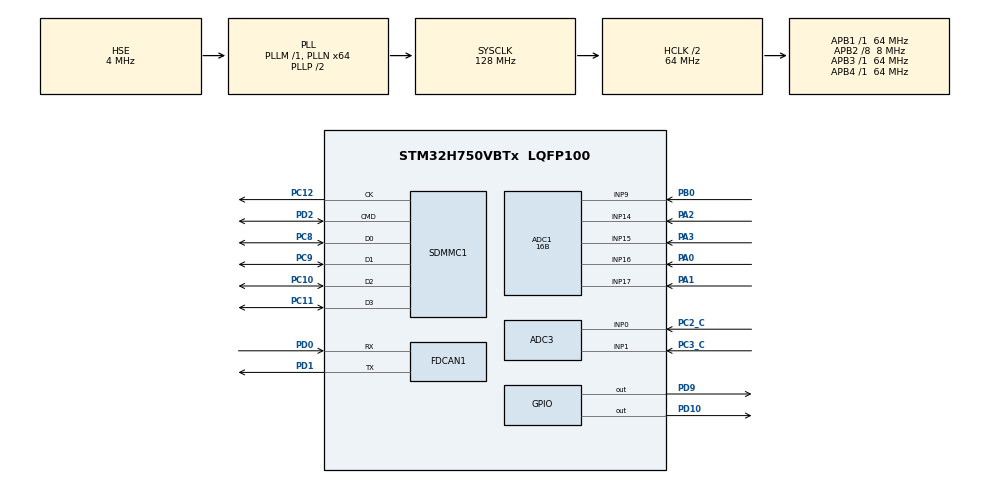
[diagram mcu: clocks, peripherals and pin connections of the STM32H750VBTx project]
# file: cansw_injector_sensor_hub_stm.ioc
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ADC1.Channel-1\#ChannelRegularConversion=ADC_CHANNEL_16
ADC1.Channel-4\#ChannelRegularConversion=ADC_CHANNEL_17
ADC1.Channel-5\#ChannelRegularConversion=ADC_CHANNEL_15
ADC1.Channel-6\#ChannelRegularConversion=ADC_CHANNEL_9
ADC1.Channel-7\#ChannelRegularConversion=ADC_CHANNEL_14
ADC1.ClockPrescaler=ADC_CLOCK_ASYNC_DIV2
ADC1.ConversionDataManagement=ADC_CONVERSIONDATA_DMA_ONESHOT
ADC1.DiscontinuousConvMode=DISABLE
ADC1.EOCSelection=ADC_EOC_SEQ_CONV
ADC1.EnableRegularConversion=ENABLE
ADC1.ExternalTrigConv=ADC_SOFTWARE_START
ADC1.LeftBitShift=ADC_LEFTBITSHIFT_NONE
ADC1.NbrOfConversion=5
ADC1.NbrOfConversionFlag=1
ADC1.NbrOfDiscConversion=1
ADC1.OffsetNumber-1\#ChannelRegularConversion=ADC_OFFSET_NONE
ADC1.OffsetNumber-4\#ChannelRegularConversion=ADC_OFFSET_NONE
ADC1.OffsetNumber-5\#ChannelRegularConversion=ADC_OFFSET_NONE
ADC1.OffsetNumber-6\#ChannelRegularConversion=ADC_OFFSET_NONE
ADC1.OffsetNumber-7\#ChannelRegularConversion=ADC_OFFSET_NONE
ADC1.OffsetSignedSaturation-1\#ChannelRegularConversion=DISABLE
ADC1.OffsetSignedSaturation-4\#ChannelRegularConversion=DISABLE
ADC1.OffsetSignedSaturation-5\#ChannelRegularConversion=DISABLE
ADC1.OffsetSignedSaturation-6\#ChannelRegularConversion=DISABLE
ADC1.OffsetSignedSaturation-7\#ChannelRegularConversion=DISABLE
ADC1.Overrun=ADC_OVR_DATA_PRESERVED
ADC1.Rank-1\#ChannelRegularConversion=1
ADC1.Rank-4\#ChannelRegularConversion=2
ADC1.Rank-5\#ChannelRegularConversion=3
ADC1.Rank-6\#ChannelRegularConversion=4
ADC1.Rank-7\#ChannelRegularConversion=5
ADC1.Resolution=ADC_RESOLUTION_16B
ADC1.SamplingTime-1\#ChannelRegularConversion=ADC_SAMPLETIME_16CYCLES_5
ADC1.SamplingTime-4\#ChannelRegularConversion=ADC_SAMPLETIME_64CYCLES_5
ADC1.SamplingTime-5\#ChannelRegularConversion=ADC_SAMPLETIME_64CYCLES_5
ADC1.SamplingTime-6\#ChannelRegularConversion=ADC_SAMPLETIME_64CYCLES_5
ADC1.SamplingTime-7\#ChannelRegularConversion=ADC_SAMPLETIME_64CYCLES_5
ADC1.master=1
ADC3.Channel-2\#ChannelRegularConversion=ADC_CHANNEL_0
ADC3.Channel-3\#ChannelRegularConversion=ADC_CHANNEL_1
ADC3.ConversionDataManagement=ADC_CONVERSIONDATA_DMA_ONESHOT
ADC3.EOCSelection=ADC_EOC_SEQ_CONV
ADC3.ExternalTrigConv=ADC_SOFTWARE_START
ADC3.NbrOfConversion=2
ADC3.NbrOfConversionFlag=1
ADC3.OffsetNumber-2\#ChannelRegularConversion=ADC_OFFSET_NONE
ADC3.OffsetNumber-3\#ChannelRegularConversion=ADC_OFFSET_NONE
ADC3.OffsetSignedSaturation-2\#ChannelRegularConversion=DISABLE
ADC3.OffsetSignedSaturation-3\#ChannelRegularConversion=DISABLE
ADC3.Rank-2\#ChannelRegularConversion=1
ADC3.Rank-3\#ChannelRegularConversion=2
ADC3.SamplingTime-2\#ChannelRegularConversion=ADC_SAMPLETIME_16CYCLES_5
ADC3.SamplingTime-3\#ChannelRegularConversion=ADC_SAMPLETIME_16CYCLES_5
CORTEX_M7.default_mode_Activation=1
Dma.ADC1.0.Direction=DMA_PERIPH_TO_MEMORY
Dma.ADC1.0.EventEnable=DISABLE
Dma.ADC1.0.FIFOMode=DMA_FIFOMODE_DISABLE
Dma.ADC1.0.Instance=DMA1_Stream0
Dma.ADC1.0.MemDataAlignment=DMA_MDATAALIGN_HALFWORD
Dma.ADC1.0.MemInc=DMA_MINC_ENABLE
Dma.ADC1.0.Mode=DMA_NORMAL
Dma.ADC1.0.PeriphDataAlignment=DMA_PDATAALIGN_HALFWORD
Dma.ADC1.0.PeriphInc=DMA_PINC_DISABLE
Dma.ADC1.0.Polarity=HAL_DMAMUX_REQ_GEN_RISING
Dma.ADC1.0.Priority=DMA_PRIORITY_LOW
Dma.ADC1.0.RequestNumber=1
Dma.ADC1.0.SignalID=NONE
Dma.ADC1.0.SyncEnable=DISABLE
Dma.ADC1.0.SyncPolarity=HAL_DMAMUX_SYNC_NO_EVENT
Dma.ADC1.0.SyncRequestNumber=1
Dma.ADC1.0.SyncSignalID=NONE
Dma.ADC3.1.Direction=DMA_PERIPH_TO_MEMORY
Dma.ADC3.1.EventEnable=DISABLE
Dma.ADC3.1.FIFOMode=DMA_FIFOMODE_DISABLE
Dma.ADC3.1.Instance=DMA1_Stream1
Dma.ADC3.1.MemDataAlignment=DMA_MDATAALIGN_HALFWORD
Dma.ADC3.1.MemInc=DMA_MINC_ENABLE
Dma.ADC3.1.Mode=DMA_NORMAL
Dma.ADC3.1.PeriphDataAlignment=DMA_PDATAALIGN_HALFWORD
Dma.ADC3.1.PeriphInc=DMA_PINC_DISABLE
Dma.ADC3.1.Polarity=HAL_DMAMUX_REQ_GEN_RISING
Dma.ADC3.1.Priority=DMA_PRIORITY_LOW
Dma.ADC3.1.RequestNumber=1
Dma.ADC3.1.SignalID=NONE
Dma.ADC3.1.SyncEnable=DISABLE
Dma.ADC3.1.SyncPolarity=HAL_DMAMUX_SYNC_NO_EVENT
Dma.ADC3.1.SyncRequestNumber=1
Dma.ADC3.1.SyncSignalID=NONE
Dma.Request0=ADC1
Dma.Request1=ADC3
FDCAN1.AutoRetransmission=DISABLE
FDCAN1.CalculateBaudRateNominal=250000
FDCAN1.CalculateTimeBitNominal=4000
FDCAN1.CalculateTimeQuantumNominal=1333.3333333333333
FDCAN1.ClockCalibrationCCU=DISABLE
FDCAN1.DataPrescaler=1
FDCAN1.FrameFormat=FDCAN_FRAME_CLASSIC
FDCAN1.Mode=FDCAN_MODE_NORMAL
FDCAN1.NominalPrescaler=16
FDCAN1.NominalTimeSeg1=1
FDCAN1.NominalTimeSeg2=1
FDCAN1.RxFifo0ElmtsNbr=64
FDCAN1.TxEventsNbr=32
FDCAN1.TxFifoQueueElmtsNbr=32
Mcu.Family=STM32H7
Mcu.Name=STM32H750VBTx
Mcu.Package=LQFP100
NVIC.DMA1_Stream0_IRQn=true\:0\:0\:false\:false\:true\:false\:true\:true
NVIC.DMA1_Stream1_IRQn=true\:0\:0\:false\:false\:true\:false\:true\:true
NVIC.FDCAN1_IT0_IRQn=true\:1\:0\:true\:false\:true\:true\:true\:true
NVIC.PriorityGroup=NVIC_PRIORITYGROUP_4
NVIC.SDMMC1_IRQn=true\:0\:0\:false\:false\:true\:true\:true\:true
PA0.Mode=IN16-Single-Ended
PA0.Signal=ADC1_INP16
PA1.Mode=IN17-Single-Ended
PA1.Signal=ADC1_INP17
PA2.Signal=ADCx_INP14
PA3.Signal=ADCx_INP15
PB0.Signal=ADCx_INP9
PC10.Mode=SD_4_bits_Wide_bus
PC10.Signal=SDMMC1_D2
PC11.Mode=SD_4_bits_Wide_bus
PC11.Signal=SDMMC1_D3
PC12.Mode=SD_4_bits_Wide_bus
PC12.Signal=SDMMC1_CK
PC2_C.Mode=IN0-Single-Ended
PC2_C.Signal=ADC3_INP0
PC3_C.Mode=IN1-Single-Ended
PC3_C.Signal=ADC3_INP1
PC8.Mode=SD_4_bits_Wide_bus
PC8.Signal=SDMMC1_D0
PC9.Mode=SD_4_bits_Wide_bus
PC9.Signal=SDMMC1_D1
PD0.Mode=FDCAN_Activate
PD0.Signal=FDCAN1_RX
PD1.Mode=FDCAN_Activate
PD1.Signal=FDCAN1_TX
PD10.Signal=GPIO_Output
PD2.Mode=SD_4_bits_Wide_bus
PD2.Signal=SDMMC1_CMD
PD9.Signal=GPIO_Output
PH0-OSC_IN\ (PH0).Mode=HSE-External-Oscillator
PH0-OSC_IN\ (PH0).Signal=RCC_OSC_IN
PH1-OSC_OUT\ (PH1).Mode=HSE-External-Oscillator
PH1-OSC_OUT\ (PH1).Signal=RCC_OSC_OUT
ProjectManager.HeapSize=0x200
ProjectManager.StackSize=0x400
ProjectManager.TargetToolchain=STM32CubeIDE
RCC.ADCFreq_Value=64000000
RCC.APB1Freq_Value=64000000
RCC.APB2Freq_Value=8000000
RCC.APB3Freq_Value=64000000
RCC.APB4Freq_Value=64000000
RCC.CortexFreq_Value=64000000
RCC.D1CPRE=RCC_SYSCLK_DIV2
RCC.D2PPRE2=RCC_APB2_DIV8
RCC.DIVM1=1
RCC.DIVM2=1
RCC.DIVN1=64
RCC.DIVN2=96
RCC.DIVP2=6
RCC.DIVQ1=4
RCC.DIVQ2=32
RCC.DIVR2=6
RCC.FDCANCLockSelection=RCC_FDCANCLKSOURCE_PLL2
RCC.HCLKFreq_Value=64000000
RCC.HSE_VALUE=4000000
RCC.PLL2FRACN=0
RCC.PLLFRACN=0
RCC.PLLSourceVirtual=RCC_PLLSOURCE_HSE
RCC.SYSCLKFreq_VALUE=128000000
RCC.SYSCLKSource=RCC_SYSCLKSOURCE_PLLCLK
RCC.USBFreq_Value=64000000
SDMMC1.ClockDiv=12
SDMMC1.ClockEdge=SDMMC_CLOCK_EDGE_RISING
SDMMC1.HardwareFlowControl=SDMMC_HARDWARE_FLOW_CONTROL_DISABLE
SDMMC1.TransceiverPresent=SDMMC_TRANSCEIVER_NOT_PRESENT
SH.ADCx_INP14.0=ADC1_INP14,IN14-Single-Ended
SH.ADCx_INP15.0=ADC1_INP15,IN15-Single-Ended
SH.ADCx_INP9.0=ADC1_INP9,IN9-Single-Ended
VP_FATFS_VS_SDIO.Mode=SDIO
VP_MEMORYMAP_VS_MEMORYMAP.Mode=CurAppReg
VP_VREFBUF_V_VREFBUF.Mode=ExternalMode
board=custom

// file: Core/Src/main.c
/* USER CODE BEGIN Header */
/**
 ******************************************************************************
 * @file           : main.c
 * @brief          : Main program body
 ******************************************************************************
 * @attention
 *
 * Copyright (c) 2026 STMicroelectronics.
 * All rights reserved.
 *
 * This software is licensed under terms that can be found in the LICENSE file
 * in the root directory of this software component.
 * If no LICENSE file comes with this software, it is provided AS-IS.
 *
 ******************************************************************************
 */
/* USER CODE END Header */
#include "main.h"
#include "fatfs.h"

/* USER CODE BEGIN Includes */
#include <stdbool.h>
#include <stdint.h>

#include "stm32h7xx_hal.h"

#include "canlib.h"
#include "common.h"
#include "low_pass_filter.h"
#include "platform.h"
#include "sd_fs.h"
#include "sd_log.h"
#include "sensor.h"
/* USER CODE END Includes */

/* USER CODE BEGIN PD */

#define MAX_BUS_DEAD_TIME_ms 1000

#define ADC_SAMPLE_FREQ_Hz 50
#define ADC_SAMPLE_INTERVAL_ms (1000.0 / ADC_SAMPLE_FREQ_Hz)

// We measure some differential sensors using two single-ended channels. That pair of channels
// counts as one sensor.
#define ADC1_SENSOR_COUNT 3
#define ADC3_SENSOR_COUNT 2
#define ADC1_CHANNEL_COUNT 5
#define ADC3_CHANNEL_COUNT 2

#define PT1_LOW_PASS_ENABLED false
#define PT1_LOW_PASS_RESPONSE_TIME_ms 2500.0
#define PT1_FREQ_DIVIDER 1

#define PT2_LOW_PASS_ENABLED false
#define PT2_LOW_PASS_RESPONSE_TIME_ms 2500.0
#define PT2_FREQ_DIVIDER 1

#define PT3_LOW_PASS_ENABLED false
#define PT3_LOW_PASS_RESPONSE_TIME_ms 2500.0
#define PT3_FREQ_DIVIDER 1

#define PT4_LOW_PASS_ENABLED false
#define PT4_LOW_PASS_RESPONSE_TIME_ms 2500.0
#define PT4_FREQ_DIVIDER 1

#define PT5_LOW_PASS_ENABLED false
#define PT5_LOW_PASS_RESPONSE_TIME_ms 2500.0
#define PT5_FREQ_DIVIDER 1

#define PT6_LOW_PASS_ENABLED false
#define PT6_LOW_PASS_RESPONSE_TIME_ms 2500.0
#define PT6_FREQ_DIVIDER 1

#define BOARD_HEARTBEAT_INTERVAL_ms 500

// Debugging / testing defines

#define NO_ERROR_HANDLER_WAIT_FOREVER
#define NO_RESET_ON_BUS_DEAD

/* USER CODE END PD */

/* USER CODE BEGIN PM */
#define LOW_PASS_ALPHA(RESPONSE_TIME, SAMPLE_FREQ_Hz)                                              \
	(((double)SAMPLE_FREQ_Hz * RESPONSE_TIME / 5.0) /                                              \
	 (1 + (double)SAMPLE_FREQ_Hz * RESPONSE_TIME / 5.0))
/* USER CODE END PM */

ADC_HandleTypeDef hadc1;
ADC_HandleTypeDef hadc3;
DMA_HandleTypeDef hdma_adc1;
DMA_HandleTypeDef hdma_adc3;

FDCAN_HandleTypeDef hfdcan1;

SD_HandleTypeDef hsd1;

void SystemClock_Config(void);
void PeriphCommonClock_Config(void);
static void MPU_Config(void);
static void MX_GPIO_Init(void);
static void MX_DMA_Init(void);
static void MX_ADC1_Init(void);
static void MX_SDMMC1_SD_Init(void);
static void MX_ADC3_Init(void);
static void MX_FDCAN1_Init(void);
/* USER CODE BEGIN PFP */
static void can_callback(const can_msg_t *msg);
/* USER CODE END PFP */

/* USER CODE BEGIN 0 */

static volatile bool seen_can_msg = false;

static volatile bool adc1_data_ready = false;
static volatile bool adc3_data_ready = false;

volatile uint16_t adc1_read_buffer[ADC1_CHANNEL_COUNT];
volatile uint16_t adc3_read_buffer[ADC3_CHANNEL_COUNT];

// Currently only internal variable to check how often this happens
static volatile uint32_t adc1_overrun_count = 0;
static volatile uint32_t adc3_overrun_count = 0;

// Declared extern in main.h
uint32_t general_board_status = 0;

/* Handler for CAN messages. */
static void can_callback(const can_msg_t *msg) {
	seen_can_msg = true;
	if (get_board_type_unique_id(msg) == BOARD_TYPE_UNIQUE_ID) {
		return;
	}

	switch (get_message_type(msg)) {
		case MSG_LEDS_ON:
			HAL_GPIO_WritePin(LED_D2_REG, LED_D2_PIN, LED_ON);
			HAL_GPIO_WritePin(LED_D3_REG, LED_D3_PIN, LED_ON);
			break;

		case MSG_LEDS_OFF:
			HAL_GPIO_WritePin(LED_D2_REG, LED_D2_PIN, LED_OFF);
			HAL_GPIO_WritePin(LED_D3_REG, LED_D3_PIN, LED_OFF);
			break;

		case MSG_RESET_CMD:
			bool board_need_reset;
			w_status_t parse_status = check_board_need_reset(msg, &board_need_reset);
			if (parse_status == W_SUCCESS && board_need_reset) {
				HAL_NVIC_SystemReset();
			}
			break;

		default:
			break;
	}
}

void HAL_ADC_ConvCpltCallback(ADC_HandleTypeDef *hadc) {
	if (hadc->Instance == ADC1) {
		if (adc1_data_ready) {
			++adc1_overrun_count;
		}
		adc1_data_ready = true;
	} else if (hadc->Instance == ADC3) {
		if (adc3_data_ready) {
			++adc3_overrun_count;
		}
		adc3_data_ready = true;
	}
}

/* USER CODE END 0 */

int main(void) {

	/* MPU Configuration--------------------------------------------------------*/
	MPU_Config();

	/* MCU Configuration--------------------------------------------------------*/

	/* Reset of all peripherals, Initializes the Flash interface and the Systick. */
	HAL_Init();

	/* Configure the system clock */
	SystemClock_Config();

	/* Configure the peripherals common clocks */
	PeriphCommonClock_Config();

	/* Initialize all configured peripherals */
	MX_GPIO_Init();
	MX_DMA_Init();
	MX_ADC1_Init();
	MX_SDMMC1_SD_Init();
	MX_ADC3_Init();
	MX_FDCAN1_Init();
	MX_FATFS_Init();
	/* USER CODE BEGIN 2 */

	uint32_t last_msg_millis = 0;
	uint32_t last_adc_reading_millis = 0;
	uint32_t last_board_heartbeat_millis = 0;

	uint32_t can_send_failure_count = 0;

	// ADC1 channels in order (configured in CubeMX): PT3, PT4+, PT4-, PT5+, PT5-
	// ADC3 channels in order (configured in CubeMX): PT1, PT2

	// voltage pts (4,5) need longer time due to high input impedance. 16 for current pt and
	// 64 cycles for voltage pt at 64 hz adc clock + 16-bit reading seems to be accurate.

	// For differential sensors (Kulite PTs), we only use one handle for the two single-ended
	// channels.
	analog_sensor_handle_t adc1_sensor_handles[ADC1_SENSOR_COUNT] = {
		{
			.config =
				{
					.sample_freq_divider = PT3_FREQ_DIVIDER,
					.is_differential = false,
					.signal_pos_adc_index = 0,
					.signal_neg_adc_index = 0, // not used
					.on_read = sensor_on_read_pt_ifm_5402,
					.sensor_id = SENSOR_PT_CHANNEL_3,
					.low_pass_enabled = PT3_LOW_PASS_ENABLED,
					.low_pass_alpha = LOW_PASS_ALPHA(PT3_LOW_PASS_RESPONSE_TIME_ms,
													 ADC_SAMPLE_FREQ_Hz / PT3_FREQ_DIVIDER),
				},
			.freq_div_counter = 1,
		},
		{
			.config =
				{
					.sample_freq_divider = PT4_FREQ_DIVIDER,
					.is_differential = true,
					.signal_pos_adc_index = 1,
					.signal_neg_adc_index = 2,
					.on_read = sensor_on_read_pt_kulite,
					.sensor_id = SENSOR_PT_CHANNEL_4,
					.low_pass_enabled = PT4_LOW_PASS_ENABLED,
					.low_pass_alpha = LOW_PASS_ALPHA(PT4_LOW_PASS_RESPONSE_TIME_ms,
													 ADC_SAMPLE_FREQ_Hz / PT4_FREQ_DIVIDER),
				},
			.freq_div_counter = 1,
		},
		{
			.config =
				{
					.sample_freq_divider = PT5_FREQ_DIVIDER,
					.is_differential = true,
					.signal_pos_adc_index = 3,
					.signal_neg_adc_index = 4, // not used
					.on_read = sensor_on_read_pt_kulite,
					.sensor_id = SENSOR_PT_CHANNEL_5,
					.low_pass_enabled = PT5_LOW_PASS_ENABLED,
					.low_pass_alpha = LOW_PASS_ALPHA(PT5_LOW_PASS_RESPONSE_TIME_ms,
													 ADC_SAMPLE_FREQ_Hz / PT5_FREQ_DIVIDER),
				},
			.freq_div_counter = 1,
		},
	};
	analog_sensor_handle_t adc3_sensor_handles[ADC3_SENSOR_COUNT] = {
		{
			.config =
				{
					.sample_freq_divider = PT1_FREQ_DIVIDER,
					.is_differential = false,
					.signal_pos_adc_index = 0,
					.signal_neg_adc_index = 0, // not used
					.on_read = sensor_on_read_pt_ifm_5402,
					.sensor_id = SENSOR_PT_CHANNEL_1,
					.low_pass_enabled = PT1_LOW_PASS_ENABLED,
					.low_pass_alpha = LOW_PASS_ALPHA(PT1_LOW_PASS_RESPONSE_TIME_ms,
													 ADC_SAMPLE_FREQ_Hz / PT1_FREQ_DIVIDER),
				},
			.freq_div_counter = 1,
		},
		{
			.config =
				{
					.sample_freq_divider = PT2_FREQ_DIVIDER,
					.is_differential = false,
					.signal_pos_adc_index = 1,
					.signal_neg_adc_index = 0, // not used
					.on_read = sensor_on_read_pt_ifm_5402,
					.sensor_id = SENSOR_PT_CHANNEL_2,
					.low_pass_enabled = PT2_LOW_PASS_ENABLED,
					.low_pass_alpha = LOW_PASS_ALPHA(PT2_LOW_PASS_RESPONSE_TIME_ms,
													 ADC_SAMPLE_FREQ_Hz / PT2_FREQ_DIVIDER),
				},
			.freq_div_counter = 1,
		},
	};

	if (!stm32h7_can_init(&hfdcan1, can_callback)) {
		Error_Handler();
	}

	if (sd_fs_init() == W_SUCCESS) {
		sd_log_init();
	} else {
		while (1) {
			can_msg_t msg;
			HAL_Delay(20); // FIXME cannot transmit 3 messages back to back workaround
			build_general_board_status_msg(
				PRIO_HIGH, millis(), general_board_status | (1 << E_FS_ERROR_OFFSET), &msg);
			stm32h7_can_send(&msg);
			HAL_Delay(500);
		}
	}
	HAL_GPIO_WritePin(LED_D3_REG, LED_D3_PIN, LED_OFF);

	/* USER CODE END 2 */

	/* Infinite loop */
	/* USER CODE BEGIN WHILE */
	while (1) {
		if (seen_can_msg) {
			seen_can_msg = false;
			last_msg_millis = millis();
		}

		if (millis() - last_msg_millis > MAX_BUS_DEAD_TIME_ms) {
#ifndef NO_RESET_ON_BUS_DEAD
			HAL_NVIC_SystemReset();
#endif
		}

		if (millis() - last_adc_reading_millis > ADC_SAMPLE_INTERVAL_ms) {
			last_adc_reading_millis = millis();
			if (!adc1_data_ready) {
				HAL_ADC_Start_DMA(&hadc1, (uint32_t *)adc1_read_buffer, ADC1_CHANNEL_COUNT);
			} else {
				++adc1_overrun_count;
			}
			if (!adc3_data_ready) {
				HAL_ADC_Start_DMA(&hadc3, (uint32_t *)adc3_read_buffer, ADC3_CHANNEL_COUNT);
			} else {
				++adc3_overrun_count;
			}
		}

		if (adc1_data_ready) {
			w_status_t handle_read_status =
				handle_adc_scan_ready(adc1_read_buffer, adc1_sensor_handles, ADC1_SENSOR_COUNT);
			if (handle_read_status != W_SUCCESS) {
				++can_send_failure_count;
			}
			adc1_data_ready = false;
		}

		if (adc3_data_ready) {
			w_status_t handle_read_status =
				handle_adc_scan_ready(adc3_read_buffer, adc3_sensor_handles, ADC3_SENSOR_COUNT);
			if (handle_read_status != W_SUCCESS) {
				++can_send_failure_count;
			}
			adc3_data_ready = false;
		}

		if (millis() - last_board_heartbeat_millis > BOARD_HEARTBEAT_INTERVAL_ms) {
			last_board_heartbeat_millis = millis();

			can_msg_t msg;

			general_board_status |= sd_fs_get_error();
			build_general_board_status_msg(
				PRIO_MEDIUM, (uint16_t)millis(), general_board_status, &msg);
			if (!stm32h7_can_send(&msg)) {
				++can_send_failure_count;
			}

			HAL_Delay(20); // FIXME cannot transmit 3 messages back to back workaround

			build_analog_sensor_32bit_msg(PRIO_LOW,
										  (uint16_t)millis(),
										  SENSOR_LOG_WRITTEN_SIZE,
										  sd_fs_get_log_written_size(),
										  &msg);
			if (!stm32h7_can_send(&msg)) {
				++can_send_failure_count;
			}

			build_analog_sensor_32bit_msg(PRIO_LOW,
										  (uint16_t)millis(),
										  SENSOR_SD_LOG_FILE_NAME,
										  sd_fs_get_log_file_name(),
										  &msg);
			if (!stm32h7_can_send(&msg)) {
				++can_send_failure_count;
			}

			HAL_GPIO_TogglePin(LED_D2_REG, LED_D2_PIN);
		}

		sd_log_flush();
		/* USER CODE END WHILE */

	}
}

void SystemClock_Config(void) {
	RCC_OscInitTypeDef RCC_OscInitStruct = {0};
	RCC_ClkInitTypeDef RCC_ClkInitStruct = {0};

	/** Supply configuration update enable
	 */
	HAL_PWREx_ConfigSupply(PWR_LDO_SUPPLY);

	/** Configure the main internal regulator output voltage
	 */
	__HAL_PWR_VOLTAGESCALING_CONFIG(PWR_REGULATOR_VOLTAGE_SCALE3);

	while (!__HAL_PWR_GET_FLAG(PWR_FLAG_VOSRDY)) {}

	/** Initializes the RCC Oscillators according to the specified parameters
	 * in the RCC_OscInitTypeDef structure.
	 */
	RCC_OscInitStruct.OscillatorType = RCC_OSCILLATORTYPE_HSE;
	RCC_OscInitStruct.HSEState = RCC_HSE_ON;
	RCC_OscInitStruct.PLL.PLLState = RCC_PLL_ON;
	RCC_OscInitStruct.PLL.PLLSource = RCC_PLLSOURCE_HSE;
	RCC_OscInitStruct.PLL.PLLM = 1;
	RCC_OscInitStruct.PLL.PLLN = 64;
	RCC_OscInitStruct.PLL.PLLP = 2;
	RCC_OscInitStruct.PLL.PLLQ = 4;
	RCC_OscInitStruct.PLL.PLLR = 2;
	RCC_OscInitStruct.PLL.PLLRGE = RCC_PLL1VCIRANGE_2;
	RCC_OscInitStruct.PLL.PLLVCOSEL = RCC_PLL1VCOWIDE;
	RCC_OscInitStruct.PLL.PLLFRACN = 0;
	if (HAL_RCC_OscConfig(&RCC_OscInitStruct) != HAL_OK) {
		Error_Handler();
	}

	/** Initializes the CPU, AHB and APB buses clocks
	 */
	RCC_ClkInitStruct.ClockType = RCC_CLOCKTYPE_HCLK | RCC_CLOCKTYPE_SYSCLK | RCC_CLOCKTYPE_PCLK1 |
								  RCC_CLOCKTYPE_PCLK2 | RCC_CLOCKTYPE_D3PCLK1 |
								  RCC_CLOCKTYPE_D1PCLK1;
	RCC_ClkInitStruct.SYSCLKSource = RCC_SYSCLKSOURCE_PLLCLK;
	RCC_ClkInitStruct.SYSCLKDivider = RCC_SYSCLK_DIV2;
	RCC_ClkInitStruct.AHBCLKDivider = RCC_HCLK_DIV1;
	RCC_ClkInitStruct.APB3CLKDivider = RCC_APB3_DIV1;
	RCC_ClkInitStruct.APB1CLKDivider = RCC_APB1_DIV1;
	RCC_ClkInitStruct.APB2CLKDivider = RCC_APB2_DIV8;
	RCC_ClkInitStruct.APB4CLKDivider = RCC_APB4_DIV1;

	if (HAL_RCC_ClockConfig(&RCC_ClkInitStruct, FLASH_LATENCY_1) != HAL_OK) {
		Error_Handler();
	}
}

void PeriphCommonClock_Config(void) {
	RCC_PeriphCLKInitTypeDef PeriphClkInitStruct = {0};

	/** Initializes the peripherals clock
	 */
	PeriphClkInitStruct.PeriphClockSelection = RCC_PERIPHCLK_ADC | RCC_PERIPHCLK_FDCAN;
	PeriphClkInitStruct.PLL2.PLL2M = 1;
	PeriphClkInitStruct.PLL2.PLL2N = 96;
	PeriphClkInitStruct.PLL2.PLL2P = 6;
	PeriphClkInitStruct.PLL2.PLL2Q = 32;
	PeriphClkInitStruct.PLL2.PLL2R = 6;
	PeriphClkInitStruct.PLL2.PLL2RGE = RCC_PLL2VCIRANGE_2;
	PeriphClkInitStruct.PLL2.PLL2VCOSEL = RCC_PLL2VCOWIDE;
	PeriphClkInitStruct.PLL2.PLL2FRACN = 0;
	PeriphClkInitStruct.FdcanClockSelection = RCC_FDCANCLKSOURCE_PLL2;
	PeriphClkInitStruct.AdcClockSelection = RCC_ADCCLKSOURCE_PLL2;
	if (HAL_RCCEx_PeriphCLKConfig(&PeriphClkInitStruct) != HAL_OK) {
		Error_Handler();
	}
}

static void MX_ADC1_Init(void) {

	ADC_MultiModeTypeDef multimode = {0};
	ADC_ChannelConfTypeDef sConfig = {0};

	/** Common config
	 */
	hadc1.Instance = ADC1;
	hadc1.Init.ClockPrescaler = ADC_CLOCK_ASYNC_DIV2;
	hadc1.Init.Resolution = ADC_RESOLUTION_16B;
	hadc1.Init.ScanConvMode = ADC_SCAN_ENABLE;
	hadc1.Init.EOCSelection = ADC_EOC_SEQ_CONV;
	hadc1.Init.LowPowerAutoWait = DISABLE;
	hadc1.Init.ContinuousConvMode = DISABLE;
	hadc1.Init.NbrOfConversion = 5;
	hadc1.Init.DiscontinuousConvMode = DISABLE;
	hadc1.Init.NbrOfDiscConversion = 1;
	hadc1.Init.ExternalTrigConv = ADC_SOFTWARE_START;
	hadc1.Init.ExternalTrigConvEdge = ADC_EXTERNALTRIGCONVEDGE_NONE;
	hadc1.Init.ConversionDataManagement = ADC_CONVERSIONDATA_DMA_ONESHOT;
	hadc1.Init.Overrun = ADC_OVR_DATA_PRESERVED;
	hadc1.Init.LeftBitShift = ADC_LEFTBITSHIFT_NONE;
	hadc1.Init.OversamplingMode = DISABLE;
	hadc1.Init.Oversampling.Ratio = 1;
	if (HAL_ADC_Init(&hadc1) != HAL_OK) {
		Error_Handler();
	}

	/** Configure the ADC multi-mode
	 */
	multimode.Mode = ADC_MODE_INDEPENDENT;
	if (HAL_ADCEx_MultiModeConfigChannel(&hadc1, &multimode) != HAL_OK) {
		Error_Handler();
	}

	/** Configure Regular Channel
	 */
	sConfig.Channel = ADC_CHANNEL_16;
	sConfig.Rank = ADC_REGULAR_RANK_1;
	sConfig.SamplingTime = ADC_SAMPLETIME_16CYCLES_5;
	sConfig.SingleDiff = ADC_SINGLE_ENDED;
	sConfig.OffsetNumber = ADC_OFFSET_NONE;
	sConfig.Offset = 0;
	sConfig.OffsetSignedSaturation = DISABLE;
	if (HAL_ADC_ConfigChannel(&hadc1, &sConfig) != HAL_OK) {
		Error_Handler();
	}

	/** Configure Regular Channel
	 */
	sConfig.Channel = ADC_CHANNEL_17;
	sConfig.Rank = ADC_REGULAR_RANK_2;
	sConfig.SamplingTime = ADC_SAMPLETIME_64CYCLES_5;
	if (HAL_ADC_ConfigChannel(&hadc1, &sConfig) != HAL_OK) {
		Error_Handler();
	}

	/** Configure Regular Channel
	 */
	sConfig.Channel = ADC_CHANNEL_15;
	sConfig.Rank = ADC_REGULAR_RANK_3;
	if (HAL_ADC_ConfigChannel(&hadc1, &sConfig) != HAL_OK) {
		Error_Handler();
	}

	/** Configure Regular Channel
	 */
	sConfig.Channel = ADC_CHANNEL_9;
	sConfig.Rank = ADC_REGULAR_RANK_4;
	if (HAL_ADC_ConfigChannel(&hadc1, &sConfig) != HAL_OK) {
		Error_Handler();
	}

	/** Configure Regular Channel
	 */
	sConfig.Channel = ADC_CHANNEL_14;
	sConfig.Rank = ADC_REGULAR_RANK_5;
	if (HAL_ADC_ConfigChannel(&hadc1, &sConfig) != HAL_OK) {
		Error_Handler();
	}
}

static void MX_ADC3_Init(void) {

	ADC_ChannelConfTypeDef sConfig = {0};

	/** Common config
	 */
	hadc3.Instance = ADC3;
	hadc3.Init.Resolution = ADC_RESOLUTION_16B;
	hadc3.Init.ScanConvMode = ADC_SCAN_ENABLE;
	hadc3.Init.EOCSelection = ADC_EOC_SEQ_CONV;
	hadc3.Init.LowPowerAutoWait = DISABLE;
	hadc3.Init.ContinuousConvMode = DISABLE;
	hadc3.Init.NbrOfConversion = 2;
	hadc3.Init.DiscontinuousConvMode = DISABLE;
	hadc3.Init.ExternalTrigConv = ADC_SOFTWARE_START;
	hadc3.Init.ExternalTrigConvEdge = ADC_EXTERNALTRIGCONVEDGE_NONE;
	hadc3.Init.ConversionDataManagement = ADC_CONVERSIONDATA_DMA_ONESHOT;
	hadc3.Init.Overrun = ADC_OVR_DATA_PRESERVED;
	hadc3.Init.LeftBitShift = ADC_LEFTBITSHIFT_NONE;
	hadc3.Init.OversamplingMode = DISABLE;
	hadc3.Init.Oversampling.Ratio = 1;
	if (HAL_ADC_Init(&hadc3) != HAL_OK) {
		Error_Handler();
	}

	/** Configure Regular Channel
	 */
	sConfig.Channel = ADC_CHANNEL_0;
	sConfig.Rank = ADC_REGULAR_RANK_1;
	sConfig.SamplingTime = ADC_SAMPLETIME_16CYCLES_5;
	sConfig.SingleDiff = ADC_SINGLE_ENDED;
	sConfig.OffsetNumber = ADC_OFFSET_NONE;
	sConfig.Offset = 0;
	sConfig.OffsetSignedSaturation = DISABLE;
	if (HAL_ADC_ConfigChannel(&hadc3, &sConfig) != HAL_OK) {
		Error_Handler();
	}

	/** Configure Regular Channel
	 */
	sConfig.Channel = ADC_CHANNEL_1;
	sConfig.Rank = ADC_REGULAR_RANK_2;
	if (HAL_ADC_ConfigChannel(&hadc3, &sConfig) != HAL_OK) {
		Error_Handler();
	}
}

static void MX_FDCAN1_Init(void) {

	hfdcan1.Instance = FDCAN1;
	hfdcan1.Init.FrameFormat = FDCAN_FRAME_CLASSIC;
	hfdcan1.Init.Mode = FDCAN_MODE_NORMAL;
	hfdcan1.Init.AutoRetransmission = DISABLE;
	hfdcan1.Init.TransmitPause = DISABLE;
	hfdcan1.Init.ProtocolException = DISABLE;
	hfdcan1.Init.NominalPrescaler = 16;
	hfdcan1.Init.NominalSyncJumpWidth = 1;
	hfdcan1.Init.NominalTimeSeg1 = 1;
	hfdcan1.Init.NominalTimeSeg2 = 1;
	hfdcan1.Init.DataPrescaler = 1;
	hfdcan1.Init.DataSyncJumpWidth = 1;
	hfdcan1.Init.DataTimeSeg1 = 1;
	hfdcan1.Init.DataTimeSeg2 = 1;
	hfdcan1.Init.MessageRAMOffset = 0;
	hfdcan1.Init.StdFiltersNbr = 0;
	hfdcan1.Init.ExtFiltersNbr = 0;
	hfdcan1.Init.RxFifo0ElmtsNbr = 64;
	hfdcan1.Init.RxFifo0ElmtSize = FDCAN_DATA_BYTES_8;
	hfdcan1.Init.RxFifo1ElmtsNbr = 0;
	hfdcan1.Init.RxFifo1ElmtSize = FDCAN_DATA_BYTES_8;
	hfdcan1.Init.RxBuffersNbr = 0;
	hfdcan1.Init.RxBufferSize = FDCAN_DATA_BYTES_8;
	hfdcan1.Init.TxEventsNbr = 32;
	hfdcan1.Init.TxBuffersNbr = 0;
	hfdcan1.Init.TxFifoQueueElmtsNbr = 32;
	hfdcan1.Init.TxFifoQueueMode = FDCAN_TX_FIFO_OPERATION;
	hfdcan1.Init.TxElmtSize = FDCAN_DATA_BYTES_8;
	if (HAL_FDCAN_Init(&hfdcan1) != HAL_OK) {
		Error_Handler();
	}
}

static void MX_SDMMC1_SD_Init(void) {

	hsd1.Instance = SDMMC1;
	hsd1.Init.ClockEdge = SDMMC_CLOCK_EDGE_RISING;
	hsd1.Init.ClockPowerSave = SDMMC_CLOCK_POWER_SAVE_DISABLE;
	hsd1.Init.BusWide = SDMMC_BUS_WIDE_4B;
	hsd1.Init.HardwareFlowControl = SDMMC_HARDWARE_FLOW_CONTROL_DISABLE;
	hsd1.Init.ClockDiv = 12;
	if (HAL_SD_Init(&hsd1) != HAL_OK) {
		Error_Handler();
	}
}

static void MX_DMA_Init(void) {
	/* DMA controller clock enable */
	__HAL_RCC_DMA1_CLK_ENABLE();

	/* DMA interrupt init */
	/* DMA1_Stream0_IRQn interrupt configuration */
	HAL_NVIC_SetPriority(DMA1_Stream0_IRQn, 0, 0);
	HAL_NVIC_EnableIRQ(DMA1_Stream0_IRQn);
	/* DMA1_Stream1_IRQn interrupt configuration */
	HAL_NVIC_SetPriority(DMA1_Stream1_IRQn, 0, 0);
	HAL_NVIC_EnableIRQ(DMA1_Stream1_IRQn);
}

static void MX_GPIO_Init(void) {
	GPIO_InitTypeDef GPIO_InitStruct = {0};

	/* GPIO Ports Clock Enable */
	__HAL_RCC_GPIOH_CLK_ENABLE();
	__HAL_RCC_GPIOC_CLK_ENABLE();
	__HAL_RCC_GPIOA_CLK_ENABLE();
	__HAL_RCC_GPIOB_CLK_ENABLE();
	__HAL_RCC_GPIOD_CLK_ENABLE();

	/*Configure GPIO pin Output Level */
	HAL_GPIO_WritePin(GPIOD, GPIO_PIN_9 | GPIO_PIN_10, GPIO_PIN_RESET);

	/*Configure GPIO pins : PD9 PD10 */
	GPIO_InitStruct.Pin = GPIO_PIN_9 | GPIO_PIN_10;
	GPIO_InitStruct.Mode = GPIO_MODE_OUTPUT_PP;
	GPIO_InitStruct.Pull = GPIO_NOPULL;
	GPIO_InitStruct.Speed = GPIO_SPEED_FREQ_LOW;
	HAL_GPIO_Init(GPIOD, &GPIO_InitStruct);

}

/* MPU Configuration */

void MPU_Config(void) {
	MPU_Region_InitTypeDef MPU_InitStruct = {0};

	/* Disables the MPU */
	HAL_MPU_Disable();

	/** Initializes and configures the Region and the memory to be protected
	 */
	MPU_InitStruct.Enable = MPU_REGION_ENABLE;
	MPU_InitStruct.Number = MPU_REGION_NUMBER0;
	MPU_InitStruct.BaseAddress = 0x0;
	MPU_InitStruct.Size = MPU_REGION_SIZE_4GB;
	MPU_InitStruct.SubRegionDisable = 0x87;
	MPU_InitStruct.TypeExtField = MPU_TEX_LEVEL0;
	MPU_InitStruct.AccessPermission = MPU_REGION_NO_ACCESS;
	MPU_InitStruct.DisableExec = MPU_INSTRUCTION_ACCESS_DISABLE;
	MPU_InitStruct.IsShareable = MPU_ACCESS_SHAREABLE;
	MPU_InitStruct.IsCacheable = MPU_ACCESS_NOT_CACHEABLE;
	MPU_InitStruct.IsBufferable = MPU_ACCESS_NOT_BUFFERABLE;

	HAL_MPU_ConfigRegion(&MPU_InitStruct);
	/* Enables the MPU */
	HAL_MPU_Enable(MPU_PRIVILEGED_DEFAULT);
}

void Error_Handler(void) {
	/* USER CODE BEGIN Error_Handler_Debug */
#ifdef NO_ERROR_HANDLER_WAIT_FOREVER
	return;
#endif
	/* User can add his own implementation to report the HAL error return state */
	__disable_irq();
	while (1) {}
	/* USER CODE END Error_Handler_Debug */
}
#ifdef USE_FULL_ASSERT
/**
 * @brief  Reports the name of the source file and the source line number
 *         where the assert_param error has occurred.
 * @param  file: pointer to the source file name
 * @param  line: assert_param error line source number
 * @retval None
 */
void assert_failed(uint8_t *file, uint32_t line) {
	/* USER CODE BEGIN 6 */
	/* User can add his own implementation to report the file name and line
	   number, ex: printf("Wrong parameters value: file %s on line %d\r\n", file,
	   line) */
	/* USER CODE END 6 */
}
#endif /* USE_FULL_ASSERT */
